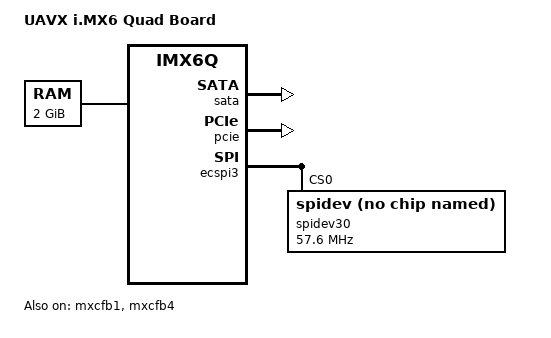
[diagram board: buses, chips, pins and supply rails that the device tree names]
/*
 * Copyright 2017 UAVX.
 * Copyright 2012 Freescale Semiconductor, Inc.
 * Copyright 2011 Linaro Ltd.
 *
 * The code contained herein is licensed under the GNU General Public
 * License. You may obtain a copy of the GNU General Public License
 * Version 2 or later at the following locations:
 *
 * http://www.opensource.org/licenses/gpl-license.html
 * http://www.gnu.org/copyleft/gpl.html
 */

/dts-v1/;

#include "imx6q.dtsi"
#include "imx6q_uavx_35i00.dtsi"

/ {
	model = "UAVX i.MX6 Quad Board";
	compatible = "fsl,imx6q-uavx", "fsl,imx6q";

	memory {
		reg = <0x10000000 0x80000000>; /* reg = 0x10000000 (base address) 0x80000000 (size = 2147483648 bits => 2GB) */
	};
};

&mxcfb1 {
	status = "okay";
};

&mxcfb4 {
	status = "okay";
};

&sata {
	status = "okay";
};

&pcie {
	status = "okay";
};


&ecspi3 {
	spidev30: spi@3 {
		compatible = "spidev";
		reg = <0>;
		spi-max-frequency = <57600000>;
	};
};
